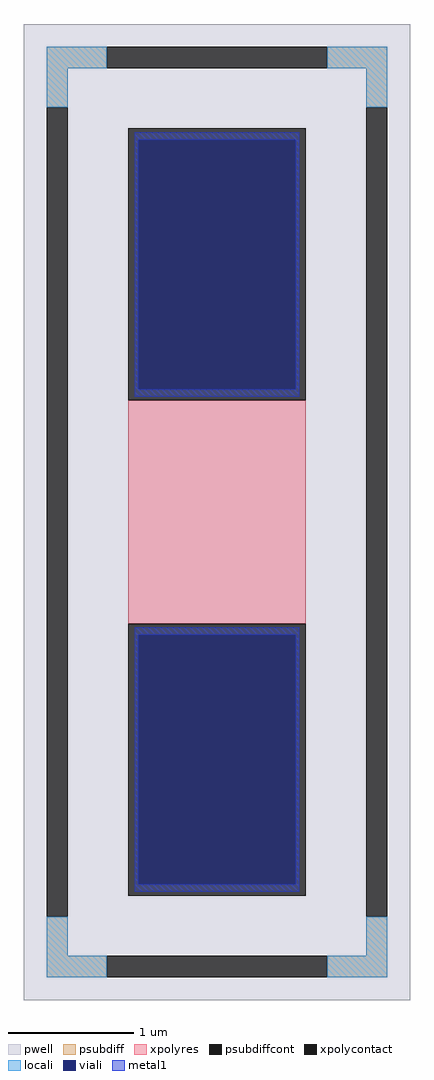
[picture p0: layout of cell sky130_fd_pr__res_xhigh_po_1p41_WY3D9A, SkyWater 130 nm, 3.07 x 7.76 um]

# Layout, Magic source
magic
tech sky130A
magscale 1 2
<< pwell >>
rect -307 -776 307 776
<< psubdiff >>
rect -271 706 -175 740
rect 175 706 271 740
rect -271 644 -237 706
rect 237 644 271 706
rect -271 -706 -237 -644
rect 237 -706 271 -644
rect -271 -740 -175 -706
rect 175 -740 271 -706
<< psubdiffcont >>
rect -175 706 175 740
rect -271 -644 -237 644
rect 237 -644 271 644
rect -175 -740 175 -706
<< xpolycontact >>
rect -141 178 141 610
rect -141 -610 141 -178
<< xpolyres >>
rect -141 -178 141 178
<< locali >>
rect -271 706 -175 740
rect 175 706 271 740
rect -271 644 -237 706
rect 237 644 271 706
rect -271 -706 -237 -644
rect 237 -706 271 -644
rect -271 -740 -175 -706
rect 175 -740 271 -706
<< viali >>
rect -125 195 125 592
rect -125 -592 125 -195
<< metal1 >>
rect -131 592 131 604
rect -131 195 -125 592
rect 125 195 131 592
rect -131 183 131 195
rect -131 -195 131 -183
rect -131 -592 -125 -195
rect 125 -592 131 -195
rect -131 -604 131 -592
<< properties >>
string FIXED_BBOX -254 -723 254 723
string gencell sky130_fd_pr__res_xhigh_po_1p41
string library sky130
string parameters w 1.410 l 1.938 m 1 nx 1 wmin 1.410 lmin 0.50 rho 2000 val 3.015k dummy 0 dw 0.0 term 188.2 sterm 0.0 caplen 0 wmax 1.410 guard 1 glc 1 grc 1 gtc 1 gbc 1 compatible {sky130_fd_pr__res_xhigh_po_0p35  sky130_fd_pr__res_xhigh_po_0p69 sky130_fd_pr__res_xhigh_po_1p41  sky130_fd_pr__res_xhigh_po_2p85 sky130_fd_pr__res_xhigh_po_5p73} snake 0 full_metal 1 n_guard 0 hv_guard 0 vias 1 viagb 0 viagt 0 viagl 0 viagr 0
<< end >>
